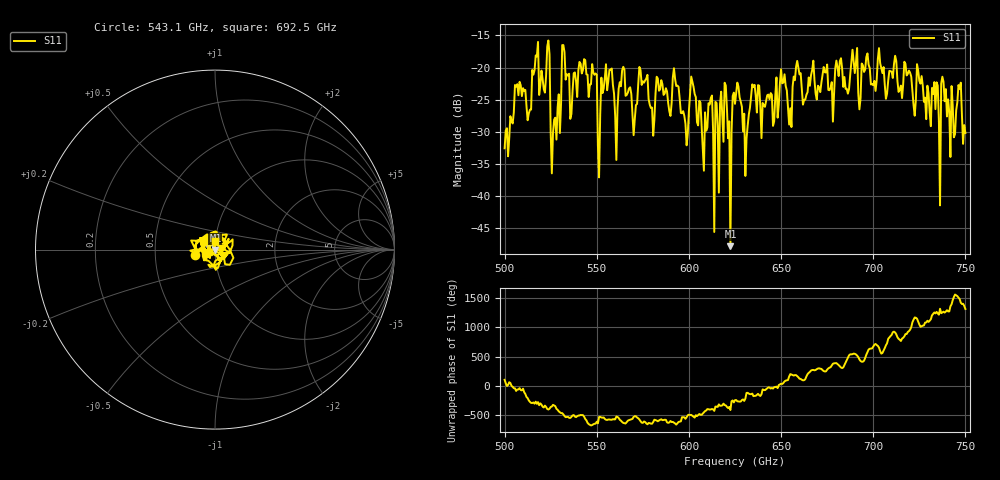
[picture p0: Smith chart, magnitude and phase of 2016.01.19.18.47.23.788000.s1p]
!Created with skrf (http://scikit-rf.org).
# GHz S RI R 50.0
!freq ReS11 ImS11
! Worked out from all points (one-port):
!   401 points, 500 GHz to 750 GHz, reference 50 ohm
!   lowest |S11| = -47.8 dB at 622.5 GHz (marker M1), VSWR 1.01, Z = 50.2 - j0.324 ohm
!   |S11| at or under -10 dB: start of sweep to end of sweep
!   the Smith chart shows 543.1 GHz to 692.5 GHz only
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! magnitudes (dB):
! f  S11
! 500 GHz  -32.6
! 506.9 GHz  -22.6
! 513.1 GHz  -27.1
! 516.9 GHz  -18.1
! 523.1 GHz  -16.7
! 526.9 GHz  -28.1
! 531.2 GHz  -16.5
! 548.8 GHz  -21.1
! 551.9 GHz  -27.3
! 553.8 GHz  -23.2
! 562.5 GHz  -22.3
! 593.8 GHz  -22.8
! 598.1 GHz  -28.8
! 602.5 GHz  -23.0
! 608.1 GHz  -36.1
! 611.9 GHz  -24.7
! 615 GHz  -25.5
! 620.6 GHz  -26.4
! 622.5 GHz  -47.8
! 625 GHz  -25.6
! 630.6 GHz  -36.9
! 635 GHz  -23.0
! 656.2 GHz  -23.0
! 687.5 GHz  -21.1
! 718.8 GHz  -21.0
! 735 GHz  -22.8
! 746.9 GHz  -23.3
! 750 GHz  -30.2
